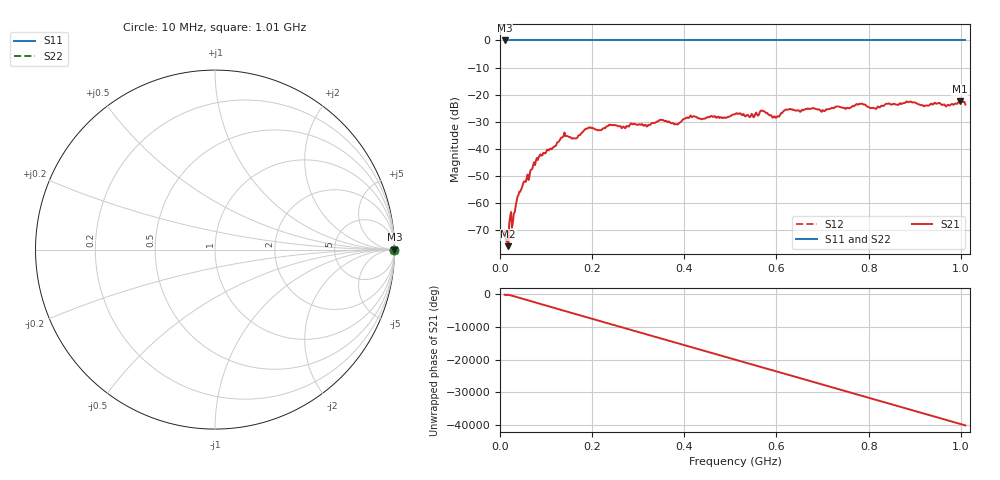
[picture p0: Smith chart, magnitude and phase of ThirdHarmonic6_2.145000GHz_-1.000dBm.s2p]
! 8/17/2025 1:37:17 AM
! C:\ANRITSUVNA\TEMP\TEMP.S2P
! CHANNEL.1
! TR.MEASUREMENT
! RAW.DATA
! RF.CORRECTION.OFF
! AVERAGING.OFF
! IF.BANDWIDTH: 5KHZ
! SWEEPTYPE:  FREQ.SWEEP(Linear)
! Reference Plane Port Info
! PORT:  PORT1  PORT2
! DISTANCE:  0  m  0  m
! TIME:  0  s  0  s
! PHASE.OFFSET:  0  deg.  0  deg.
! LOSS:  0  dB  0  dB
! REF.LOSS:  0  dB  0  dB
! REF.FREQ:  0  Hz  0  Hz
! Power Info
! POWER:  -20  dBm  -20  dBm
! EFF.POWER:  -20  dBm  -20  dBm
! SOURCE.ATTEN:  0  dB  0  dB
! TEST.ATTEN:  0  dB  0  dB
# GHZ S RI R 50.0
! FREQ.GHZ  S11RE  S11IM  S21RE  S21IM  S12RE  S12IM  S22RE  S22IM
!; PortSelection: Port_12
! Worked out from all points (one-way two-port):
!   501 points, 10 MHz to 1.01 GHz, reference 50 ohm
!   highest |S21| = -22.51 dB at 998 MHz (marker M1); lowest = -76.0 dB at 18 MHz (marker M2)
!   lowest |S11| = 0.0 dB at 10 MHz (marker M3)
!   |S11| at or under -10 dB: nowhere
!   |S22| runs from 0.0 to 0.0 dB; largest |S21 - S12| = 1.1
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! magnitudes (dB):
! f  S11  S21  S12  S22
! 10 MHz  0.0  -70.2  0.0  0.0
! 14 MHz  0.0  -74.2  0.0  0.0
! 18 MHz  0.0  -76.0  0.0  0.0
! 42 MHz  0.0  -55.9  0.0  0.0
! 84 MHz  0.0  -43.1  0.0  0.0
! 136 MHz  0.0  -35.7  0.0  0.0
! 164 MHz  0.0  -36.2  0.0  0.0
! 178 MHz  0.0  -34.1  0.0  0.0
! 194 MHz  0.0  -32.1  0.0  0.0
! 322 MHz  0.0  -31.1  0.0  0.0
! 344 MHz  0.0  -29.8  0.0  0.0
! 382 MHz  0.0  -30.9  0.0  0.0
! 416 MHz  0.0  -28.4  0.0  0.0
! 510 MHz  0.0  -27.2  0.0  0.0
! 546 MHz  0.0  -27.1  0.0  0.0
! 570 MHz  0.0  -26.0  0.0  0.0
! 596 MHz  0.0  -28.1  0.0  0.0
! 624 MHz  0.0  -25.5  0.0  0.0
! 678 MHz  0.0  -25.1  0.0  0.0
! 844 MHz  0.0  -23.2  0.0  0.0
! 998 MHz  0.0  -22.5  0.0  0.0
! 1.01 GHz  0.0  -23.7  0.0  0.0
